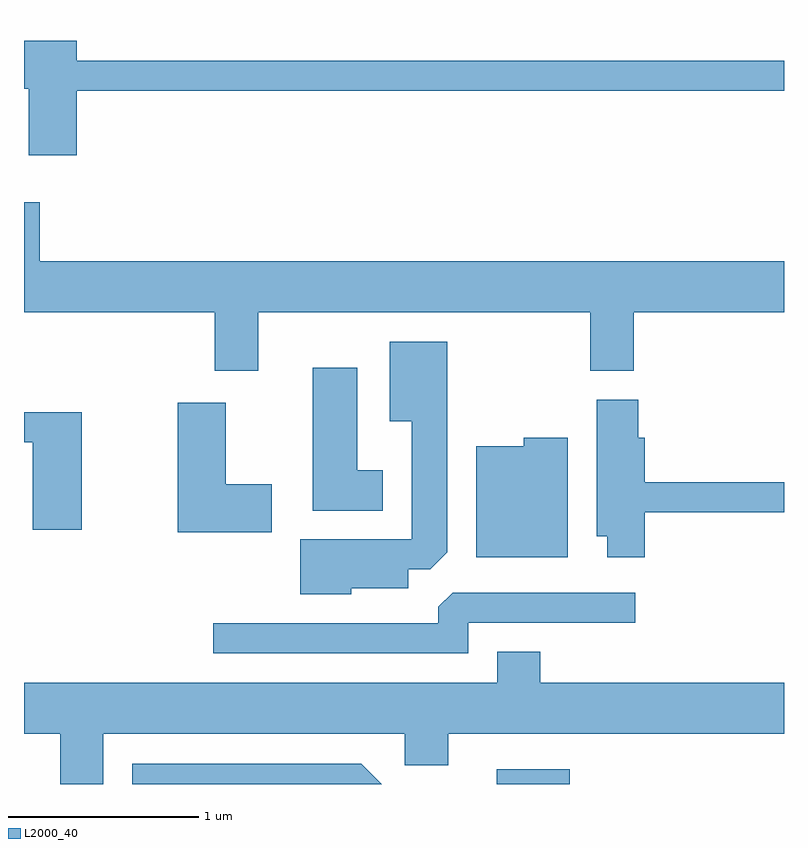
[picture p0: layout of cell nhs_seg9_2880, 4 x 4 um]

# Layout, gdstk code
import gdstk
lib = gdstk.Library(unit=1e-6, precision=1e-09)
def R(c, l, rs):  # rectangles x0, y0, x1, y1
    for r in rs: c.add(gdstk.rectangle(r[:2], r[2:], *l))
def P(c, l, *ps):  # polygons
    for p in ps: c.add(gdstk.Polygon(p, *l))
L2000_40 = (2000, 40)

nhs_seg9_2880 = lib.new_cell('nhs_seg9_2880')
R(nhs_seg9_2880, L2000_40, [(272.098,2000.432,272.484,2000.509), (271.876,2004.431,272.504,2004.432)])
P(nhs_seg9_2880, L2000_40, [(269.889,2004.081),(273.611,2004.081),(273.611,2004.239),(269.889,2004.239),(269.889,2004.344),(269.611,2004.344),(269.611,2004.091),(269.636,2004.091),(269.636,2003.741),(269.889,2003.741)],
  [(269.694,2003.494),(269.611,2003.494),(269.611,2002.916),(270.616,2002.916),(270.616,2002.606),(270.844,2002.606),(270.844,2002.916),(272.591,2002.916),(272.591,2002.606),(272.819,2002.606),(272.819,2002.916),(273.611,2002.916),(273.611,2003.184),(269.694,2003.184)],
  [(271.334,2001.461),(271.634,2001.461),(271.634,2001.561),(271.749,2001.561),(271.839,2001.652),(271.839,2002.759),(271.536,2002.759),(271.536,2002.341),(271.651,2002.341),(271.651,2001.719),(271.066,2001.719),(271.066,2001.431),(271.334,2001.431)],
  [(271.499,2002.084),(271.364,2002.084),(271.364,2002.624),(271.131,2002.624),(271.131,2001.871),(271.499,2001.871)],
  [(272.879,2001.861),(273.611,2001.861),(273.611,2002.019),(272.879,2002.019),(272.879,2002.254),(272.844,2002.254),(272.844,2002.454),(272.626,2002.454),(272.626,2001.736),(272.681,2001.736),(272.681,2001.626),(272.879,2001.626)],
  [(270.914,2002.009),(270.674,2002.009),(270.674,2002.439),(270.421,2002.439),(270.421,2001.756),(270.914,2001.756)],
  [(269.914,2002.389),(269.611,2002.389),(269.611,2002.231),(269.656,2002.231),(269.656,2001.771),(269.914,2001.771)],
  [(272.474,2002.254),(272.241,2002.254),(272.241,2002.209),(271.991,2002.209),(271.991,2001.626),(272.474,2001.626)],
  [(271.949,2001.281),(272.828,2001.281),(272.828,2001.439),(271.867,2001.439),(271.791,2001.364),(271.791,2001.279),(270.608,2001.279),(270.608,2001.121),(271.949,2001.121)],
  [(270.029,2000.696),(271.616,2000.696),(271.616,2000.531),(271.844,2000.531),(271.844,2000.696),(273.611,2000.696),(273.611,2000.964),(272.329,2000.964),(272.329,2001.129),(272.101,2001.129),(272.101,2000.964),(269.611,2000.964),(269.611,2000.696),(269.801,2000.696),(269.801,2000.432),(270.029,2000.432)],
  [(271.387,2000.539),(270.181,2000.539),(270.181,2000.432),(271.494,2000.432)])

lib.write_gds('nhs_seg9_2880.gds')
